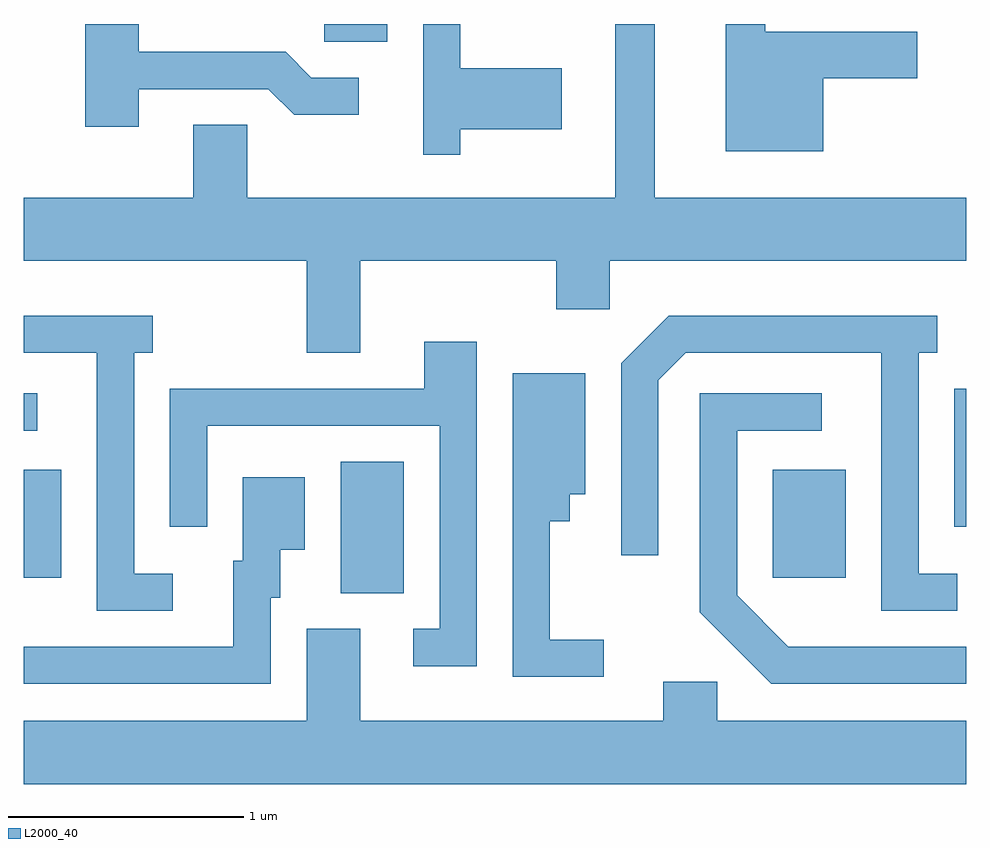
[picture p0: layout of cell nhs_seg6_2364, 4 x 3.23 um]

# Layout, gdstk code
import gdstk
lib = gdstk.Library(unit=1e-6, precision=1e-09)
def R(c, l, rs):  # rectangles x0, y0, x1, y1
    for r in rs: c.add(gdstk.rectangle(r[:2], r[2:], *l))
def P(c, l, *ps):  # polygons
    for p in ps: c.add(gdstk.Polygon(p, *l))
L2000_40 = (2000, 40)

nhs_seg6_2364 = lib.new_cell('nhs_seg6_2364')
R(nhs_seg6_2364, L2000_40, [(258.956,1539.746,259.224,1540.304), (257.611,1539.811,257.769,1540.269), (260.791,1539.811,261.099,1540.269), (261.561,1540.028,261.611,1540.614), (257.611,1540.436,257.668,1540.594), (258.886,1542.086,259.154,1542.162)])
P(nhs_seg6_2364, L2000_40, [(259.039,1541.156),(259.871,1541.156),(259.871,1540.951),(260.099,1540.951),(260.099,1541.156),(261.611,1541.156),(261.611,1541.424),(260.289,1541.424),(260.289,1542.162),(260.121,1542.162),(260.121,1541.424),(258.559,1541.424),(258.559,1541.734),(258.331,1541.734),(258.331,1541.424),(257.611,1541.424),(257.611,1541.156),(258.811,1541.156),(258.811,1540.766),(259.039,1540.766)],
  [(258.099,1541.886),(258.649,1541.886),(258.759,1541.776),(259.033,1541.776),(259.033,1541.934),(258.832,1541.934),(258.722,1542.044),(258.099,1542.044),(258.099,1542.162),(257.871,1542.162),(257.871,1541.726),(258.099,1541.726)],
  [(261.004,1541.931),(261.404,1541.931),(261.404,1542.129),(260.759,1542.129),(260.759,1542.162),(260.591,1542.162),(260.591,1541.621),(261.004,1541.621)],
  [(259.464,1541.716),(259.894,1541.716),(259.894,1541.974),(259.464,1541.974),(259.464,1542.162),(259.306,1542.162),(259.306,1541.608),(259.464,1541.608)],
  [(261.573,1539.829),(261.409,1539.829),(261.409,1540.766),(261.488,1540.766),(261.488,1540.924),(260.349,1540.924),(260.146,1540.722),(260.146,1539.908),(260.304,1539.908),(260.304,1540.649),(260.421,1540.766),(261.251,1540.766),(261.251,1539.671),(261.573,1539.671)],
  [(258.243,1539.829),(258.079,1539.829),(258.079,1540.766),(258.158,1540.766),(258.158,1540.924),(257.611,1540.924),(257.611,1540.766),(257.921,1540.766),(257.921,1539.671),(258.243,1539.671)],
  [(259.534,1540.814),(259.311,1540.814),(259.311,1540.614),(258.231,1540.614),(258.231,1540.028),(258.389,1540.028),(258.389,1540.456),(259.376,1540.456),(259.376,1539.594),(259.263,1539.594),(259.263,1539.436),(259.534,1539.436)],
  [(260.073,1539.549),(259.844,1539.549),(259.844,1540.051),(259.929,1540.051),(259.929,1540.166),(259.994,1540.166),(259.994,1540.679),(259.686,1540.679),(259.686,1539.391),(260.073,1539.391)],
  [(261.611,1539.519),(260.856,1539.519),(260.639,1539.737),(260.639,1540.436),(260.998,1540.436),(260.998,1540.594),(260.481,1540.594),(260.481,1539.664),(260.784,1539.361),(261.611,1539.361)],
  [(258.659,1539.726),(258.699,1539.726),(258.699,1539.931),(258.804,1539.931),(258.804,1540.239),(258.541,1540.239),(258.541,1539.884),(258.501,1539.884),(258.501,1539.519),(257.611,1539.519),(257.611,1539.361),(258.659,1539.361)],
  [(261.611,1539.204),(260.554,1539.204),(260.554,1539.369),(260.326,1539.369),(260.326,1539.204),(259.039,1539.204),(259.039,1539.594),(258.811,1539.594),(258.811,1539.204),(257.611,1539.204),(257.611,1538.936),(261.611,1538.936)])

lib.write_gds('nhs_seg6_2364.gds')
